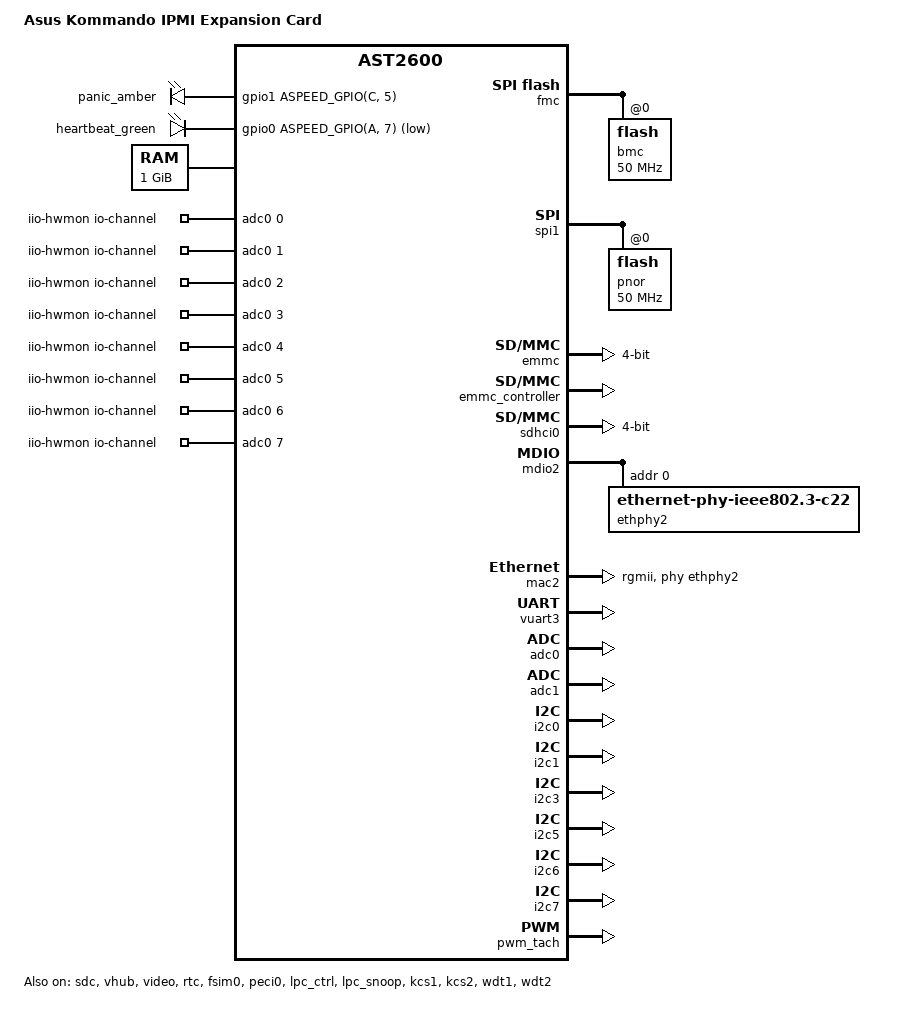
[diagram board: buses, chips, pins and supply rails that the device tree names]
// SPDX-License-Identifier: GPL-2.0-or-later
// Copyright 2025 Anirudh Srinivasan

/dts-v1/;

#include "aspeed-g6.dtsi"
#include "aspeed-g6-pinctrl.dtsi"
#include <dt-bindings/gpio/aspeed-gpio.h>
#include <dt-bindings/clock/ast2600-clock.h>
#include <dt-bindings/interrupt-controller/aspeed-scu-ic.h>
#include <dt-bindings/interrupt-controller/arm-gic.h>

/ {
	model = "Asus Kommando IPMI Expansion Card";
	compatible = "asus,ast2600-kommando-ipmi-card", "aspeed,ast2600";

	aliases {
		serial4 = &uart5;
	};

	chosen {
		stdout-path = "serial4:115200n8";
	};

	leds {
		compatible = "gpio-leds";

		led-fault {
			gpios = <&gpio1 ASPEED_GPIO(C, 5) GPIO_ACTIVE_HIGH>;
			label = "panic_amber";
			panic-indicator;
			default-state = "off";
		};

		led-heartbeat {
			gpios = <&gpio0 ASPEED_GPIO(A, 7) GPIO_ACTIVE_LOW>;
			label = "heartbeat_green";
			linux,default-trigger = "timer";
		};
	};

	memory@80000000 {
		device_type = "memory";
		reg = <0x80000000 0x40000000>;
	};

	reserved-memory {
		#address-cells = <1>;
		#size-cells = <1>;
		ranges;

		video_engine_memory: video {
			size = <0x04000000>;
			alignment = <0x01000000>;
			compatible = "shared-dma-pool";
			reusable;
		};
	};

	iio-hwmon {
		compatible = "iio-hwmon";
		io-channels = <&adc0 0>, <&adc0 1>, <&adc0 2>, <&adc0 3>,
			      <&adc0 4>, <&adc0 5>, <&adc0 6>, <&adc0 7>,
			      <&adc1 0>, <&adc1 1>, <&adc1 2>, <&adc1 3>,
			      <&adc1 4>, <&adc1 5>, <&adc1 6>, <&adc1 7>;
	};
};

&fmc {
	status = "okay";

	flash@0 {
		status = "okay";
		m25p,fast-read;
		label = "bmc";
		spi-max-frequency = <50000000>;
#include "openbmc-flash-layout-64.dtsi"
	};
};

&spi1 {
	status = "okay";
	pinctrl-names = "default";
	pinctrl-0 = <&pinctrl_spi1_default>;

	flash@0 {
		status = "okay";
		m25p,fast-read;
		label = "pnor";
		spi-max-frequency = <50000000>;
	};
};

&emmc {
	status = "okay";
	bus-width = <4>;
	max-frequency = <100000000>;
	sdhci-drive-type = [03];
};

&emmc_controller {
	status = "okay";
};

&sdc {
	status = "okay";
};

&sdhci0 {
	status = "okay";
	bus-width = <4>;
	max-frequency = <100000000>;
	sdhci-caps-mask = <0x07 0x580000>;
	sdhci,auto-cmd12;
	sdhci,wp-inverted;
};

&mdio2 {
	status = "okay";
	pinctrl-names = "default";
	pinctrl-0 = <&pinctrl_mdio3_default>;
	#address-cells = <1>;
	#size-cells = <0>;

	ethphy2: ethernet-phy@0 {
		compatible = "ethernet-phy-ieee802.3-c22";
		reg = <0>;
	};
};

&mac2 {
	status = "okay";
	/* Bootloader sets up the MAC to insert delay */
	phy-mode = "rgmii";
	phy-handle = <&ethphy2>;
	pinctrl-names = "default";
	pinctrl-0 = <&pinctrl_rgmii3_default>;
};

&vhub {
	status = "okay";
};

&video {
	status = "okay";
	memory-region = <&video_engine_memory>;
};

&rtc {
	status = "okay";
};

&fsim0 {
	status = "okay";
};

&peci0 {
	status = "okay";
};

&lpc_ctrl {
	status = "okay";
};

&lpc_snoop {
	status = "okay";
	snoop-ports = <0x80>;
};

&vuart3 {
	status = "okay";
};

&adc0 {
	vref = <2500>;
	status = "okay";
	pinctrl-names = "default";
	pinctrl-0 = <&pinctrl_adc0_default &pinctrl_adc1_default
		     &pinctrl_adc2_default &pinctrl_adc3_default
		     &pinctrl_adc4_default &pinctrl_adc5_default
		     &pinctrl_adc6_default &pinctrl_adc7_default>;
};

&adc1 {
	vref = <2500>;
	status = "okay";
	pinctrl-names = "default";
	pinctrl-0 = <&pinctrl_adc8_default &pinctrl_adc9_default
		     &pinctrl_adc10_default &pinctrl_adc11_default
		     &pinctrl_adc12_default &pinctrl_adc13_default
		     &pinctrl_adc14_default &pinctrl_adc15_default>;
};

&i2c0 {
	status = "okay";
};

&i2c1 {
	status = "okay";
};

&i2c3 {
	status = "okay";
};

&i2c5 {
	status = "okay";
};

&i2c6 {
	status = "okay";
};

&i2c7 {
	status = "okay";
};

&kcs1 {
	status = "okay";
	aspeed,lpc-io-reg = <0xca0>;
};

&kcs2 {
	status = "okay";
	aspeed,lpc-io-reg = <0xca8>;
};

&wdt1 {
	status = "okay";
};

&wdt2 {
	status = "okay";
};

&pwm_tach {
	status = "okay";
	pinctrl-names = "default";
	pinctrl-0 = <&pinctrl_pwm0_default &pinctrl_pwm1_default>;

	fan@0 {
		aspeed,fan-tach-ch = [00];
		cooling-levels = [7d 97 b1 cb e5 ff];
		period;
		reg = <0x00>;
	};

	fan@1 {
		aspeed,fan-tach-ch = [01];
		cooling-levels = [7d 97 b1 cb e5 ff];
		reg = <0x01>;
	};

	fan@2 {
		aspeed,fan-tach-ch = [02];
		cooling-levels = [7d 97 b1 cb e5 ff];
		reg = <0x02>;
	};

	fan@3 {
		aspeed,fan-tach-ch = [03];
		cooling-levels = [7d 97 b1 cb e5 ff];
		reg = <0x03>;
	};

	fan@4 {
		aspeed,fan-tach-ch = [04];
		cooling-levels = [7d 97 b1 cb e5 ff];
		reg = <0x04>;
	};

	fan@5 {
		aspeed,fan-tach-ch = [05];
		cooling-levels = [7d 97 b1 cb e5 ff];
		reg = <0x05>;
	};

	fan@6 {
		aspeed,fan-tach-ch = [06];
		cooling-levels = [7d 97 b1 cb e5 ff];
		reg = <0x06>;
	};

	fan@7 {
		aspeed,fan-tach-ch = [07];
		cooling-levels = [7d 97 b1 cb e5 ff];
		reg = <0x07>;
	};
};

&gpio0 {
	status = "okay";
	gpio-line-names =
			  /*A0 0*/ "", "", "", "", "", "BMC_CS_CTRLI", "", "BMC_HBLED",
			  /*B0 8*/ "", "BMC_FW_EN", "BMC_HD_DETECT", "MLED_SEL", "BMCLED_SEL", "BMC_DEEPS5", "MB_S5_DETECT", "BMC_SPI_CTRLI",
			  /*C0 16*/ "", "", "", "", "", "", "", "",
			  /*D0 24*/ "", "", "", "", "", "", "", "",
			  /*E0 32*/ "", "", "", "", "", "", "", "",
			  /*F0 40*/ "", "", "", "", "BMC_UPDATEBIOS", "+3VSB", "", "",
			  /*G0 48*/ "BMC_CHAFAN1_MODE", "BMC_CHAFAN2_MODE", "BMC_CHAFAN3_MODE", "BMC_CHAFAN4_MODE", "BMC_CHAFAN5_MODE", "BMC_CHAFAN6_MODE", "BMC_CHAFAN7_MODE", "BMC_CHAFAN8_MODE",
			  /*H0 56*/ "", "", "", "", "", "", "BMC_PHY_LINK", "",
			  /*I0 64*/ "", "", "", "BMC_RSTBTN", "", "", "", "",
			  /*J0 72*/ "", "", "", "", "", "", "", "",
			  /*K0 80*/ "I2C_5_SCL", "I2C_5_SDA", "", "", "", "", "", "",
			  /*L0 88*/ "", "", "", "", "", "", "", "",
			  /*M0 96*/ "S_RTCRST_CTRL", "O_BMC_ERP_10", "O_SEL_3.3V_1.8V_10", "S_SLPS3", "BMC_PERST_R", "SPIPWR_EN", "BMC_VGA_SW", "",
			  /*N0 104*/ "CF_FTI_AUX0", "CF_FTI_AUX1", "CF_FTI_AUX2", "CF_FTI_AUX3", "CF_FTI_AUX4", "CF_FTI_AUX5", "CF_FTI_AUX6", "CF_FTI_AUX7",
			  /*O0 112*/ "", "", "", "", "", "", "", "",
			  /*P0 120*/ "", "", "", "", "", "", "", "",
			  /*Q0 128*/ "", "", "", "", "", "", "", "",
			  /*R0 136*/ "", "", "", "+12V_DETECT", "", "", "AUX_BMCLOCBTN_R", "",
			  /*S0 144*/ "", "", "", "", "", "", "", "",
			  /*T0 152*/ "", "", "", "", "", "", "", "",
			  /*U0 160*/ "", "", "", "", "", "", "", "",
			  /*V0 168*/ "", "", "", "", "BMC_PWRBTN", "", "MB_S0_DETECT", "",
			  /*W0 176*/ "", "", "", "", "", "", "", "",
			  /*X0 184*/ "", "BMC_INIT", "BMC_READY", "", "", "", "BMC_HWMSW", "",
			  /*Y0 192*/ "", "", "BMC_RESETDIS", "", "", "", "BMC_PSONEN", "BMC_PRESENT",
			  /*Z0 200*/ "", "", "BMC_PWRBTNDIS", "", "", "", "", "";
};

&gpio1 {
	status = "okay";
	gpio-line-names =
			  /*18A0 0*/ "", "", "", "", "DMLAN_IP_SEL", "", "", "GPIO18A7",
			  /*18B0 8*/ "GPIO18B0", "", "", "", "", "", "", "",
			  /*18C0 16*/ "", "", "", "", "", "BMC_MLED", "", "",
			  /*18D0 24*/ "", "", "", "", "", "", "", "",
			  /*18E0 32*/ "", "", "", "", "", "", "", "";
};
